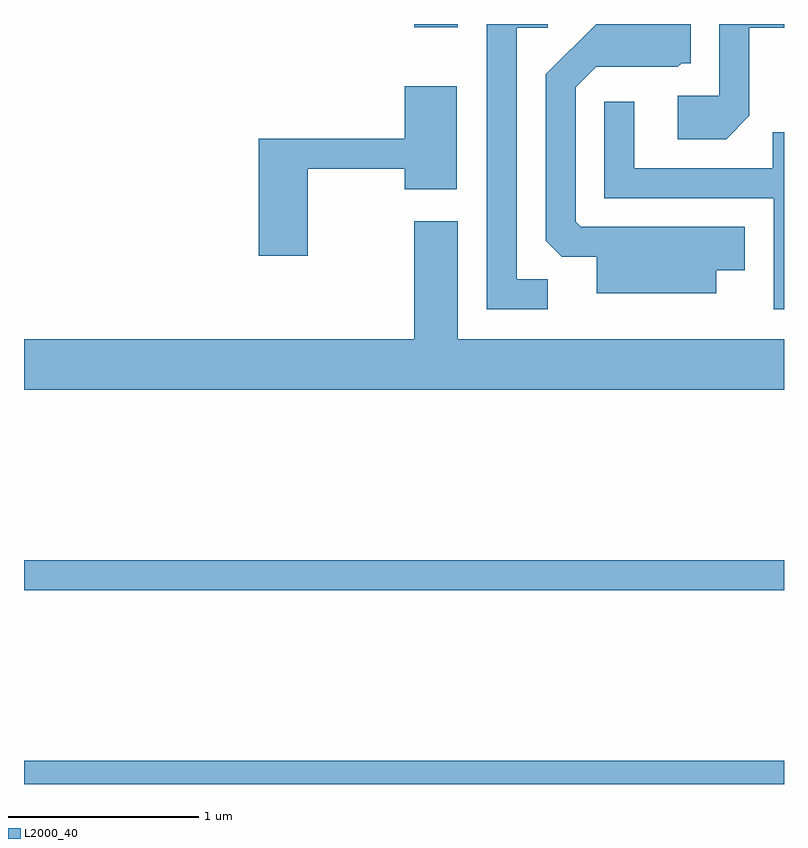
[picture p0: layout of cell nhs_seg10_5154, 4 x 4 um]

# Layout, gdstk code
import gdstk
lib = gdstk.Library(unit=1e-6, precision=1e-09)
def R(c, l, rs):  # rectangles x0, y0, x1, y1
    for r in rs: c.add(gdstk.rectangle(r[:2], r[2:], *l))
def P(c, l, *ps):  # polygons
    for p in ps: c.add(gdstk.Polygon(p, *l))
L2000_40 = (2000, 40)

nhs_seg10_5154 = lib.new_cell('nhs_seg10_5154')
R(nhs_seg10_5154, L2000_40, [(337.611,2098.522,341.611,2098.644), (337.611,2099.541,341.611,2099.699), (339.666,2102.506,339.894,2102.522)])
P(nhs_seg10_5154, L2000_40, [(341.429,2102.039),(341.429,2102.501),(341.611,2102.501),(341.611,2102.522),(341.271,2102.522),(341.271,2102.144),(341.051,2102.144),(341.051,2101.916),(341.307,2101.916)],
  [(340.368,2101.179),(340.204,2101.179),(340.204,2102.501),(340.368,2102.501),(340.368,2102.522),(340.046,2102.522),(340.046,2101.021),(340.368,2101.021)],
  [(341.254,2101.226),(341.404,2101.226),(341.404,2101.454),(340.542,2101.454),(340.514,2101.482),(340.514,2102.189),(340.622,2102.296),(341.052,2102.296),(341.072,2102.316),(341.119,2102.316),(341.119,2102.522),(340.622,2102.522),(340.356,2102.257),(340.356,2101.382),(340.442,2101.296),(340.626,2101.296),(340.626,2101.106),(341.254,2101.106)],
  [(339.104,2101.761),(339.616,2101.761),(339.616,2101.651),(339.889,2101.651),(339.889,2102.194),(339.616,2102.194),(339.616,2101.919),(338.846,2101.919),(338.846,2101.301),(339.104,2101.301)],
  [(341.611,2101.953),(341.551,2101.953),(341.551,2101.764),(340.824,2101.764),(340.824,2102.113),(340.666,2102.113),(340.666,2101.606),(341.556,2101.606),(341.556,2101.021),(341.611,2101.021)],
  [(339.666,2101.484),(339.666,2100.864),(337.611,2100.864),(337.611,2100.596),(341.611,2100.596),(341.611,2100.864),(339.894,2100.864),(339.894,2101.484)])

lib.write_gds('nhs_seg10_5154.gds')
